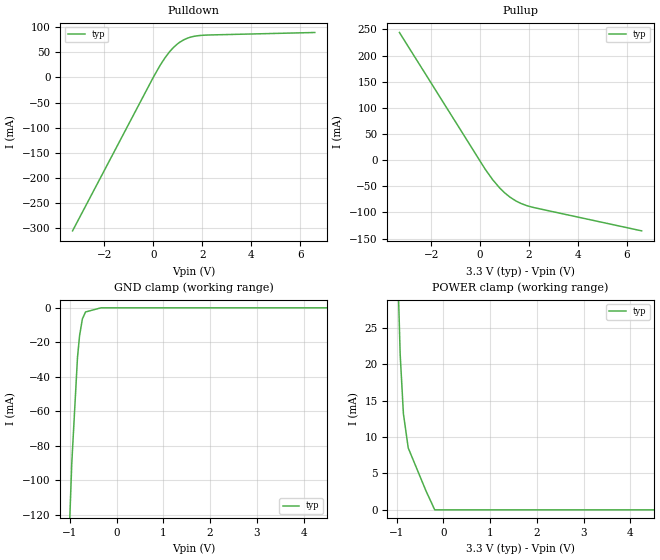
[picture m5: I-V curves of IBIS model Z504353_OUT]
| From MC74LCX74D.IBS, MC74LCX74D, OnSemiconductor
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| (C) COPYRIGHT 1993-2000
| MENTOR GRAPHICS CORPORATION
| ICX STANDARD LIBRARY, ICX PROJECT MODELING,
| ICX CUSTOM MODELING, ICX VENDOR MODEL
| ALL RIGHTS RESERVED.
| THE FOLLOWING ARE TRADEMARKS OR SERVICE MARKS OF
| MENTOR GRAPHICS CORPORATION:ICX (R), ICX STANDARD
| LIBRARY(R), ICX PROJECT MODELING(R), ICX CUSTOM
| MODELING(R), qualityIBIS(TM), MODELVIEWER(TM),
| AND MODELEDITOR(TM)
| ALL COPIES OF SOFTWARE, INCLUDING BUT NOT LIMITED TO
| ANY MODIFICATIONS, ENHANCEMENTS OR DERIVATIVE WORKS,
| MUST CONTAIN ALL MENTOR GRAPHICS CORPORATION'S
| NOTICES AND LEGENDS, INCLUDING THOSE EMBEDDED IN
| SOFTWARE AND THOSE AFFIXED TO SOFTWARE MEDIUM
| AND CONTAINER, AS RECEIVED FROM MENTOR GRAPHICS
| CORPORATION.
| Model Application Version 1.89 2/18/99.
[Model] Z504353_OUT
Model_type Output
Vref=0.000V
Rref=500.0ohms
Cref=50.00pF
Vmeas=1.500V
C_comp 8.000pF NA NA
| variable typ   min   max
[Voltage Range] 3.300V NA NA
[POWER Clamp Reference] 3.300V NA NA
[Pullup Reference] 3.300V NA NA
[Pulldown Reference] 0.000V NA NA
[GND Clamp Reference] 0.000V NA NA
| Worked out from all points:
|   slope of the pulldown table from 0 to 0.495 V, typ, clamps not added: 12.4 ohm
|   slope of the pullup table from 0 to 0.495 V, typ, clamps not added: 14.4 ohm
|   POWER clamp passes 1 mA (typ) near -0.26 V on its own axis
[GND Clamp]
-3.3V     -1.835A    NA         NA
-957.5mV  -90.14mA   NA         NA
-835.5mV  -28.82mA   NA         NA
-791.2mV  -16.21mA   NA         NA
-730.8mV  -6.413mA   NA         NA
-662.8mV  -2.401mA   NA         NA
-331.4mV  0A         NA         NA
6.6V      0A         NA         NA
[Pulldown]
-3.3V     -304.9mA   NA         NA
6.409mV   873.3uA    NA         NA
280.2mV   24.24mA    NA         NA
483.3mV   39.4mA     NA         NA
669.4mV   51.31mA    NA         NA
955.9mV   65.42mA    NA         NA
1.261V    75.25mA    NA         NA
1.42V     78.52mA    NA         NA
1.974V    83.7mA     NA         NA
6.6V      89.37mA    NA         NA
[Pullup]
-3.3V     244mA      NA         NA
217mV     -18.2mA    NA         NA
517mV     -37.78mA   NA         NA
798mV     -53.23mA   NA         NA
1.007V    -62.75mA   NA         NA
1.218V    -70.73mA   NA         NA
1.473V    -78.35mA   NA         NA
1.668V    -82.8mA    NA         NA
1.902V    -86.92mA   NA         NA
2.037V    -88.78mA   NA         NA
2.235V    -91.1mA    NA         NA
6.6V      -135.2mA   NA         NA
[POWER Clamp]
-3.3V     554.6mA    NA         NA
-925mV    21.37mA    NA         NA
-856mV    13.23mA    NA         NA
-753mV    8.515mA    NA         NA
-371mV    2.578mA    NA         NA
-185.5mV  0A         NA         NA
6.6V      0A         NA         NA
[Ramp]
| variable typ min max
dV/dt_r 1.946/287.8p NA NA
dV/dt_f 1.946/263.0p NA NA
R_load = 500.0Ohms
